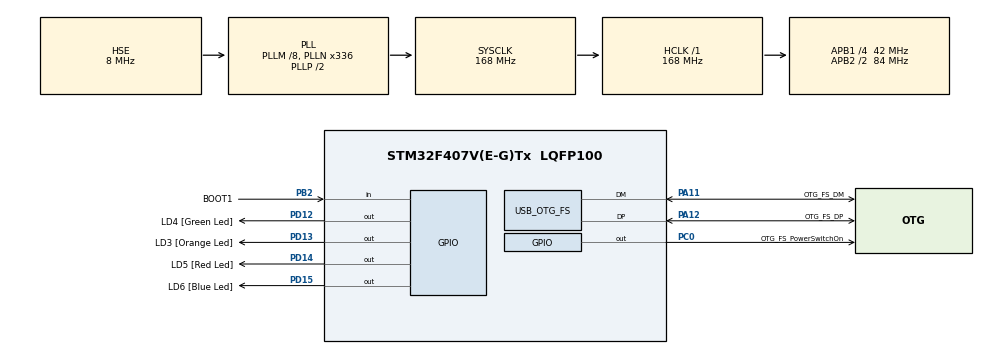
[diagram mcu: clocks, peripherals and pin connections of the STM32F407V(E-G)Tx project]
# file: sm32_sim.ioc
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Mcu.Family=STM32F4
Mcu.Name=STM32F407V(E-G)Tx
Mcu.Package=LQFP100
Mcu.UserConstants=ADC,0
NVIC.OTG_FS_IRQn=true\:0\:0\:false\:false\:true
NVIC.PriorityGroup=NVIC_PRIORITYGROUP_0
PA11.GPIO_Label=OTG_FS_DM
PA11.GPIO_Mode=GPIO_MODE_AF_PP
PA11.GPIO_PuPd=GPIO_NOPULL
PA11.GPIO_Speed=GPIO_SPEED_FREQ_LOW
PA11.Mode=Device_Only
PA11.Signal=USB_OTG_FS_DM
PA12.GPIO_Label=OTG_FS_DP
PA12.GPIO_Mode=GPIO_MODE_AF_PP
PA12.GPIO_PuPd=GPIO_NOPULL
PA12.GPIO_Speed=GPIO_SPEED_FREQ_LOW
PA12.Mode=Device_Only
PA12.Signal=USB_OTG_FS_DP
PA13.GPIO_Label=SWDIO
PA13.Mode=Serial_Wire
PA13.Signal=SYS_JTMS-SWDIO
PA14.GPIO_Label=SWCLK
PA14.Mode=Serial_Wire
PA14.Signal=SYS_JTCK-SWCLK
PB2.GPIO_Label=BOOT1
PB2.GPIO_Mode=GPIO_MODE_INPUT
PB2.GPIO_PuPd=GPIO_NOPULL
PB2.Signal=GPIO_Input
PC0.GPIO_Label=OTG_FS_PowerSwitchOn
PC0.GPIO_PuPd=GPIO_NOPULL
PC0.GPIO_Speed=GPIO_SPEED_FREQ_LOW
PC0.PinState=GPIO_PIN_SET
PC0.Signal=GPIO_Output
PD12.GPIO_Label=LD4 [Green Led]
PD12.GPIO_PuPd=GPIO_NOPULL
PD12.GPIO_Speed=GPIO_SPEED_FREQ_LOW
PD12.Signal=GPIO_Output
PD13.GPIO_Label=LD3 [Orange Led]
PD13.GPIO_PuPd=GPIO_NOPULL
PD13.GPIO_Speed=GPIO_SPEED_FREQ_LOW
PD13.Signal=GPIO_Output
PD14.GPIO_Label=LD5 [Red Led]
PD14.GPIO_PuPd=GPIO_NOPULL
PD14.GPIO_Speed=GPIO_SPEED_FREQ_LOW
PD14.Signal=GPIO_Output
PD15.GPIO_Label=LD6 [Blue Led]
PD15.GPIO_PuPd=GPIO_NOPULL
PD15.GPIO_Speed=GPIO_SPEED_FREQ_LOW
PD15.Signal=GPIO_Output
PH0-OSC_IN.GPIO_Label=PH0-OSC_IN
PH0-OSC_IN.Mode=HSE-External-Oscillator
PH0-OSC_IN.Signal=RCC_OSC_IN
PH1-OSC_OUT.GPIO_Label=PH1-OSC_OUT
PH1-OSC_OUT.Mode=HSE-External-Oscillator
PH1-OSC_OUT.Signal=RCC_OSC_OUT
ProjectManager.HeapSize=0x200
ProjectManager.StackSize=0x400
ProjectManager.TargetToolchain=MDK-ARM V5
RCC.48MHZClocksFreq_Value=48000000
RCC.AHBFreq_Value=168000000
RCC.APB1CLKDivider=RCC_HCLK_DIV4
RCC.APB1Freq_Value=42000000
RCC.APB1TimFreq_Value=84000000
RCC.APB2CLKDivider=RCC_HCLK_DIV2
RCC.APB2Freq_Value=84000000
RCC.APB2TimFreq_Value=168000000
RCC.CortexFreq_Value=168000000
RCC.HCLKFreq_Value=168000000
RCC.HSE_VALUE=8000000
RCC.HSI_VALUE=16000000
RCC.PLLM=8
RCC.PLLN=336
RCC.PLLQ=7
RCC.SYSCLKFreq_VALUE=168000000
RCC.SYSCLKSource=RCC_SYSCLKSOURCE_PLLCLK
RCC.VCOOutputFreq_Value=336000000
USB_DEVICE.CLASS_NAME-CDC_FS=CDC
USB_DEVICE.CLASS_NAME_FS=CDC
USB_DEVICE.PRODUCT_STRING_CDC_FS=STM32 Virtual Com Simulink
USB_DEVICE.USBD_HandleTypeDef-CDC_FS=hUsbDeviceFS
USB_DEVICE.VirtualMode-CDC_FS=Cdc
USB_DEVICE.VirtualModeFS=Cdc_FS
USB_OTG_FS.VirtualMode=Device_Only
VP_USB_DEVICE_VS_USB_DEVICE_CDC_FS.Mode=CDC_FS
board=STM32F407G-DISC1

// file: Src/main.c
/**
  ******************************************************************************
  * File Name          : main.c
  * Description        : Main program body
  ******************************************************************************
  *
  * Copyright (c) 2017 STMicroelectronics International N.V.
  * All rights reserved.
  *
  * Redistribution and use in source and binary forms, with or without
  * modification, are permitted, provided that the following conditions are met:
  *
  * 1. Redistribution of source code must retain the above copyright notice,
  *    this list of conditions and the following disclaimer.
  * 2. Redistributions in binary form must reproduce the above copyright notice,
  *    this list of conditions and the following disclaimer in the documentation
  *    and/or other materials provided with the distribution.
  * 3. Neither the name of STMicroelectronics nor the names of other
  *    contributors to this software may be used to endorse or promote products
  *    derived from this software without specific written permission.
  * 4. This software, including modifications and/or derivative works of this
  *    software, must execute solely and exclusively on microcontroller or
  *    microprocessor devices manufactured by or for STMicroelectronics.
  * 5. Redistribution and use of this software other than as permitted under
  *    this license is void and will automatically terminate your rights under
  *    this license.
  *
  * THIS SOFTWARE IS PROVIDED BY STMICROELECTRONICS AND CONTRIBUTORS "AS IS"
  * AND ANY EXPRESS, IMPLIED OR STATUTORY WARRANTIES, INCLUDING, BUT NOT
  * LIMITED TO, THE IMPLIED WARRANTIES OF MERCHANTABILITY, FITNESS FOR A
  * PARTICULAR PURPOSE AND NON-INFRINGEMENT OF THIRD PARTY INTELLECTUAL PROPERTY
  * RIGHTS ARE DISCLAIMED TO THE FULLEST EXTENT PERMITTED BY LAW. IN NO EVENT
  * SHALL STMICROELECTRONICS OR CONTRIBUTORS BE LIABLE FOR ANY DIRECT, INDIRECT,
  * INCIDENTAL, SPECIAL, EXEMPLARY, OR CONSEQUENTIAL DAMAGES (INCLUDING, BUT NOT
  * LIMITED TO, PROCUREMENT OF SUBSTITUTE GOODS OR SERVICES; LOSS OF USE, DATA,
  * OR PROFITS; OR BUSINESS INTERRUPTION) HOWEVER CAUSED AND ON ANY THEORY OF
  * LIABILITY, WHETHER IN CONTRACT, STRICT LIABILITY, OR TORT (INCLUDING
  * NEGLIGENCE OR OTHERWISE) ARISING IN ANY WAY OUT OF THE USE OF THIS SOFTWARE,
  * EVEN IF ADVISED OF THE POSSIBILITY OF SUCH DAMAGE.
  *
  ******************************************************************************
  */
#include "main.h"
#include "stm32f4xx_hal.h"
#include "usb_device.h"
#include "usbd_cdc_if.h"

/* USER CODE BEGIN Includes */
#define TX_BUFF_NUM 11

/* USER CODE END Includes */

/* USER CODE BEGIN PV */
/* Private variables ---------------------------------------------------------*/
uint16_t TX_Buff[TX_BUFF_NUM];
/* USER CODE END PV */

void SystemClock_Config(void);
void Error_Handler(void);
/* USER CODE BEGIN PFP */
/* Private function prototypes -----------------------------------------------*/
void DMA2_Stream0_IRQHandler(void);
/* USER CODE END PFP */

int main(void)
{
  /* USER CODE BEGIN 1 */
    TX_Buff[0] = 0x4637;// "7F"
  /* USER CODE END 1 */

  /* MCU Configuration----------------------------------------------------------*/

  /* Reset of all peripherals, Initializes the Flash interface and the Systick. */
  HAL_Init();

  /* Configure the system clock */
  SystemClock_Config();

  /* Initialize all configured peripherals */
    MX_USB_DEVICE_Init();

  /* USER CODE BEGIN 2 */
    RCC->AHB1ENR |= RCC_AHB1ENR_GPIOAEN |
                    RCC_AHB1ENR_GPIOBEN |
                    RCC_AHB1ENR_GPIOCEN |
                    RCC_AHB1ENR_GPIODEN |
                    RCC_AHB1ENR_GPIOEEN;

    //GPIOD PIN12-15 leds
    GPIOD->MODER |= GPIO_MODE_OUTPUT_PP << PIN12*2 |
                    GPIO_MODE_OUTPUT_PP << PIN13*2 |
                    GPIO_MODE_OUTPUT_PP << PIN14*2 |
                    GPIO_MODE_OUTPUT_PP << PIN15*2;

    //GPIOC PIN0 USB PWR_ON
    GPIOC->MODER |= GPIO_MODE_OUTPUT_PP << PIN0*2;

    GPIOA->MODER |= GPIO_MODE_AF_PP << PIN11*2 |
                    GPIO_MODE_AF_PP << PIN12*2;
    GPIOA->PUPDR |= GPIO_NOPULL << PIN11*2 |
                    GPIO_NOPULL << PIN12*2;
    GPIOA->OSPEEDR |= GPIO_SPEED_FREQ_VERY_HIGH << PIN11*2 |
                      GPIO_SPEED_FREQ_VERY_HIGH << PIN12*2;
    GPIOA->AFR[1] |= GPIO_AF10_OTG_FS << (PIN11*4-32) |
                     GPIO_AF10_OTG_FS << (PIN12*4-32);

    //Set GPIOA PIN1-3, B0-1, C0-1 as analog in
    GPIOA->MODER |= GPIO_MODE_ANALOG << PIN1*2 |
                    GPIO_MODE_ANALOG << PIN2*2 |
                    GPIO_MODE_ANALOG << PIN3*2;
    GPIOB->MODER |= GPIO_MODE_ANALOG << PIN0*2 |
                    GPIO_MODE_ANALOG << PIN1*2;
    GPIOC->MODER |= GPIO_MODE_ANALOG << PIN1*2;
    GPIOA->PUPDR |= GPIO_NOPULL <<PIN1*2 |
                    GPIO_NOPULL <<PIN2*2 |
                    GPIO_NOPULL <<PIN3*2;
    GPIOB->PUPDR |= GPIO_NOPULL <<PIN0*2 |
                    GPIO_NOPULL <<PIN1*2;
    GPIOC->PUPDR |= GPIO_NOPULL <<PIN1*2;
    GPIOA->OSPEEDR |= GPIO_SPEED_FREQ_HIGH << PIN1*2 |
                      GPIO_SPEED_FREQ_HIGH << PIN2*2 |
                      GPIO_SPEED_FREQ_HIGH << PIN3*2;
    GPIOB->OSPEEDR |= GPIO_SPEED_FREQ_HIGH << PIN0*2 |
                      GPIO_SPEED_FREQ_HIGH << PIN1*2;
    GPIOC->OSPEEDR |= GPIO_SPEED_FREQ_HIGH << PIN1*2;

    //Set GPIOE PIN9,11,13 as TIM1 PWM out
    GPIOE->MODER |= GPIO_MODE_AF_PP << PIN9*2  |
                    GPIO_MODE_AF_PP << PIN11*2 |
                    GPIO_MODE_AF_PP << PIN13*2;
    GPIOE->PUPDR |= GPIO_NOPULL << PIN9*2  |
                    GPIO_NOPULL << PIN11*2 |
                    GPIO_NOPULL << PIN13*2;
    GPIOE->OSPEEDR |= GPIO_SPEED_FREQ_MEDIUM << PIN9*2  |
                      GPIO_SPEED_FREQ_MEDIUM << PIN11*2 |
                      GPIO_SPEED_FREQ_MEDIUM << PIN13*2;
    GPIOE->AFR[1] |= GPIO_AF1_TIM1 << (PIN9*4  - 32) |
                     GPIO_AF1_TIM1 << (PIN11*4 - 32) |
                     GPIO_AF1_TIM1 << (PIN13*4 - 32);

    //GPIOC PIN6 for capture
    GPIOC->MODER |= GPIO_MODE_AF_PP << PIN6*2;
    GPIOA->MODER |= GPIO_MODE_AF_PP << PIN15*2 |
                    GPIO_MODE_AF_PP << PIN0*2;
    GPIOC->PUPDR |= GPIO_NOPULL << PIN6*2;
    GPIOA->PUPDR |= GPIO_NOPULL << PIN15*2 |
                    GPIO_NOPULL << PIN0*2;
    GPIOC->OSPEEDR |= GPIO_SPEED_FREQ_VERY_HIGH << PIN6*2;
    GPIOA->OSPEEDR |= GPIO_SPEED_FREQ_VERY_HIGH << PIN15*2 |
                      GPIO_SPEED_FREQ_VERY_HIGH << PIN0*2;
    GPIOC->AFR[0] |= GPIO_AF3_TIM8 << PIN6*4;
    GPIOA->AFR[0] |= GPIO_AF2_TIM5 << PIN0*4;
    GPIOA->AFR[1] |= GPIO_AF1_TIM2 << (PIN15*4-32);

    //ADC1 Init
    RCC->APB2ENR |= RCC_APB2ENR_ADC1EN; //APB2 clk = 84MHz
    ADC1->CR2 = ADC_CR2_ADON |
                ADC_CR2_DMA |
                ADC_CR2_DDS |
                ADC_CR2_EXTSEL_3 |
                ADC_CR2_EXTEN_0;// подаем питание на АЦП
    ADC1->CR1 = ADC_CR1_SCAN;// разрешаем прерывания по окончанию преобразования
    ADC1->SMPR2 = ADC_SMPR2_SMP1_0 | //; для всех каналов 3 семпла
                  ADC_SMPR2_SMP2_0 |
                  ADC_SMPR2_SMP3_0 |
                  ADC_SMPR2_SMP8_0 |
                  ADC_SMPR2_SMP9_0;
    ADC1->SMPR1 = ADC_SMPR1_SMP11_0;
    ADC1->SQR1 =  5 << ADC_SQR1_L_Pos; // 6 преобразований (5 + 1)
    ADC1->SQR3 = (1 << ADC_SQR3_SQ1_Pos) | //порядок каналов
                 (2 << ADC_SQR3_SQ2_Pos) |
                 (3 << ADC_SQR3_SQ3_Pos) |
                 (8 << ADC_SQR3_SQ4_Pos) |
                 (9 << ADC_SQR3_SQ5_Pos) |
                (11 << ADC_SQR3_SQ6_Pos);

    //TIM3 for ADC1 Init
    RCC->APB1ENR |= RCC_APB1ENR_TIM3EN;//84 Mhz
    TIM3->PSC = APB1_TIM/10000-1;//10kHz
    TIM3->ARR = 100;
    TIM3->CR2 = TIM_CR2_MMS_1;
    TIM3->CR1 = TIM_CR1_CEN;

    //DMA Init
    RCC->AHB1ENR |= RCC_AHB1ENR_DMA2EN;
    DMA2_Stream0->CR = DMA_SxCR_CIRC |
                       DMA_SxCR_MINC |
                       DMA_SxCR_MSIZE_0 |
                       DMA_SxCR_PSIZE_0 |
                       DMA_SxCR_TCIE;
    DMA2_Stream0->PAR = (uint32_t) &ADC1->DR;
    DMA2_Stream0->M0AR = (uint32_t) &TX_Buff[2];
    DMA2_Stream0->NDTR = 6;
    DMA2_Stream0->CR |= DMA_SxCR_EN;

    //TIM1 PWM mode
    RCC->APB2ENR |= RCC_APB2ENR_TIM1EN;//APB2_TIM clk=168MHz
    TIM1->PSC = APB2_TIM/10000-1;//10kHz
    TIM1->ARR = 100;//100Hz
    TIM1->CCER = TIM_CCER_CC1E |
                 TIM_CCER_CC2E |
                 TIM_CCER_CC3E;
    TIM1->CCMR1 = TIM_CCMR1_OC1M_1 |
                  TIM_CCMR1_OC1M_2 |
                  TIM_CCMR1_OC2M_1 |
                  TIM_CCMR1_OC2M_2;
    TIM1->CCMR2 = TIM_CCMR2_OC3M_1 |
                  TIM_CCMR2_OC3M_2;
    TIM1->BDTR = TIM_BDTR_MOE;
    TIM1->CCR1 = 20;
    TIM1->CCR2 = 40;
    TIM1->CCR3 = 60;
    TIM1->CR1 = TIM_CR1_CEN;

    //TIM2,5,8 for input capture 1
    RCC->APB2ENR |= RCC_APB2ENR_TIM8EN;//APB2_TIM clk = 100MHz
    TIM8->CCMR1 = TIM_CCMR1_CC1S_0;
    TIM8->CCER = TIM_CCER_CC1P |
                 TIM_CCER_CC1E;
    TIM8->SMCR = TIM_SMCR_SMS_2 |
                 TIM_SMCR_TS_2;
    TIM8->PSC = APB2_TIM/1000000-1;//1Mhz
    TIM8->CR1 = TIM_CR1_CEN;

    RCC->APB1ENR |= RCC_APB1ENR_TIM2EN;
    TIM2->CCMR1 = TIM_CCMR1_CC1S_0;
    TIM2->CCER = TIM_CCER_CC1P |
                 TIM_CCER_CC1E;
    TIM2->SMCR = TIM_SMCR_SMS_2 |
                 TIM_SMCR_TS_2;
    TIM2->PSC = APB1_TIM/1000000-1;//1Mhz
    TIM2->CR1 = TIM_CR1_CEN;

    RCC->APB1ENR |= RCC_APB1ENR_TIM5EN;
    TIM5->CCMR1 = TIM_CCMR1_CC1S_0;
    TIM5->CCER = TIM_CCER_CC1P |
                 TIM_CCER_CC1E;
    TIM5->SMCR = TIM_SMCR_SMS_2 |
                 TIM_SMCR_TS_2;
    TIM5->PSC = APB1_TIM/1000000-1;//1Mhz
    TIM5->CR1 = TIM_CR1_CEN;

    GPIOD->BSRR |= GPIO_BSRR_BS12;
    GPIOC->BSRR |= GPIO_BSRR_BR0;

    HAL_NVIC_EnableIRQ(DMA2_Stream0_IRQn);

  /* USER CODE END 2 */

  /* Infinite loop */
  while (1)
  {

  }

}

/** System Clock Configuration
*/
void SystemClock_Config(void)
{

  RCC_OscInitTypeDef RCC_OscInitStruct;
  RCC_ClkInitTypeDef RCC_ClkInitStruct;

    /**Configure the main internal regulator output voltage
    */
  __HAL_RCC_PWR_CLK_ENABLE();

  __HAL_PWR_VOLTAGESCALING_CONFIG(PWR_REGULATOR_VOLTAGE_SCALE1);

    /**Initializes the CPU, AHB and APB busses clocks
    */
  RCC_OscInitStruct.OscillatorType = RCC_OSCILLATORTYPE_HSE;
  RCC_OscInitStruct.HSEState = RCC_HSE_ON;
  RCC_OscInitStruct.PLL.PLLState = RCC_PLL_ON;
  RCC_OscInitStruct.PLL.PLLSource = RCC_PLLSOURCE_HSE;
  RCC_OscInitStruct.PLL.PLLM = 8;
  RCC_OscInitStruct.PLL.PLLN = 336;
  RCC_OscInitStruct.PLL.PLLP = RCC_PLLP_DIV2;
  RCC_OscInitStruct.PLL.PLLQ = 7;
  if (HAL_RCC_OscConfig(&RCC_OscInitStruct) != HAL_OK)
  {
    Error_Handler();
  }

    /**Initializes the CPU, AHB and APB busses clocks
    */
  RCC_ClkInitStruct.ClockType = RCC_CLOCKTYPE_HCLK|RCC_CLOCKTYPE_SYSCLK
                              |RCC_CLOCKTYPE_PCLK1|RCC_CLOCKTYPE_PCLK2;
  RCC_ClkInitStruct.SYSCLKSource = RCC_SYSCLKSOURCE_PLLCLK;
  RCC_ClkInitStruct.AHBCLKDivider = RCC_SYSCLK_DIV1;
  RCC_ClkInitStruct.APB1CLKDivider = RCC_HCLK_DIV4;
  RCC_ClkInitStruct.APB2CLKDivider = RCC_HCLK_DIV2;

  if (HAL_RCC_ClockConfig(&RCC_ClkInitStruct, FLASH_LATENCY_5) != HAL_OK)
  {
    Error_Handler();
  }

    /**Configure the Systick interrupt time
    */
  HAL_SYSTICK_Config(HAL_RCC_GetHCLKFreq()/1000);

    /**Configure the Systick
    */
  HAL_SYSTICK_CLKSourceConfig(SYSTICK_CLKSOURCE_HCLK);

  /* SysTick_IRQn interrupt configuration */
  HAL_NVIC_SetPriority(SysTick_IRQn, 0, 0);
}

/** Configure pins as
        * Analog
        * Input
        * Output
        * EVENT_OUT
        * EXTI
*/

/* USER CODE BEGIN 4 */
void DMA2_Stream0_IRQHandler(void)
{
    static uint8_t t = 0;
    t++;
    if (t==100) t = 0;
    DMA2->LIFCR = DMA_LIFCR_CHTIF0 |
                  DMA_LIFCR_CTCIF0;

    TX_Buff[1]=t;
    TX_Buff[8]  = TIM2->CCR1;
    TX_Buff[9]  = TIM5->CCR1;
    TX_Buff[10] = TIM8->CCR1;
    CDC_Transmit_FS((uint8_t*) TX_Buff,sizeof(TX_Buff));

}

void CDC_recive_buff(uint8_t* Buffer)
{
//    static uint16_t i, a;

//    a = Buffer[0] | Buffer[1] << 8;
//    i = Buffer[2] | Buffer[3] << 8;

    TIM1->CCR1 = Buffer[4] | Buffer[5] << 8;
    TIM1->CCR2 = Buffer[6] | Buffer[7] << 8;
    TIM1->CCR3 = Buffer[8] | Buffer[9] << 8;

}
/* USER CODE END 4 */

void Error_Handler(void)
{
  while(1)
  {
  }
}

/************************ (C) COPYRIGHT STMicroelectronics *****END OF FILE****/
